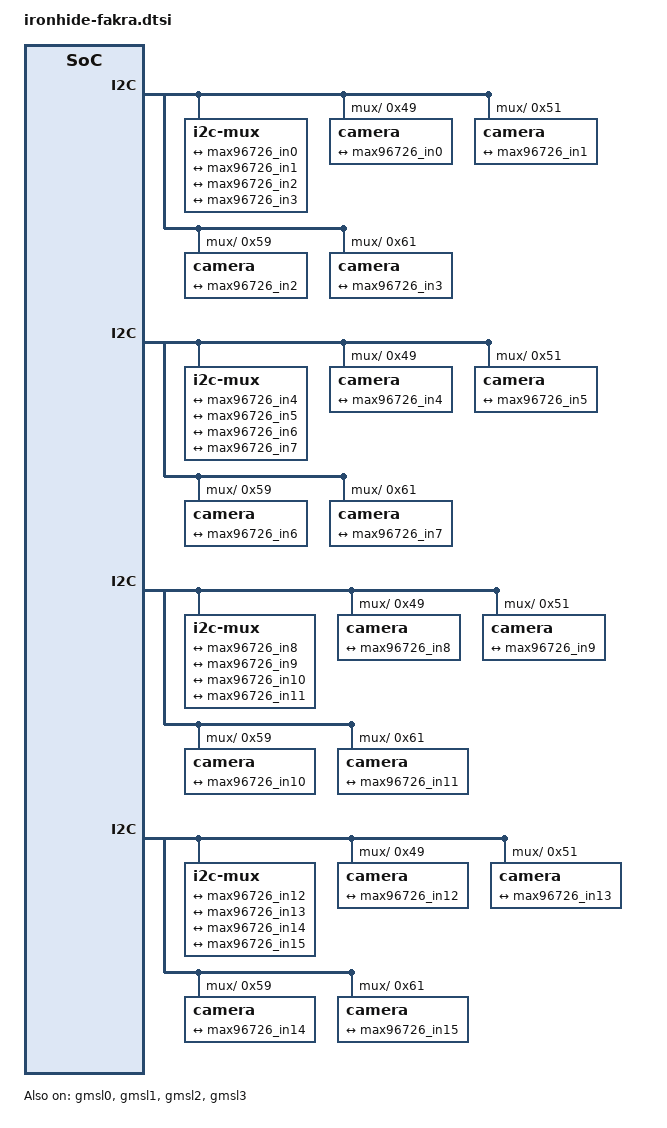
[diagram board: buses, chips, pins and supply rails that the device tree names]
// SPDX-License-Identifier: GPL-2.0+
/*
 * Device Tree Source (overlay) for the Ironhide X5H FAKRA connectors
 *
 * Copyright (C) 2023 Renesas Electronics Corp.
 *
 * This overlay allows you to define cameras connected to the FAKRA connectors
 * on the IRONHIDE-X5H (or compatible) board.
 *
 * Select each camera model by setting IRONHIDE_CAMERA<n> to AR0820, IMX728,
 * or IMX623. Comment out a define to disconnect that camera from the DTB.
 *
 * "onnn,ar0820", "sony,imx728", and "sony,imx623" have a devicetree binding
 * under Documentation/devicetree/bindings/media/i2c/ for schema validation,
 * but their v4l2 subdev driver is maintained out-of-tree (the "gmsl_serdes"
 * project) and is not part of this kernel tree.
 */

#include <dt-bindings/gpio/gpio.h>

/* Model selectors also choose the remote sensor address. */
#define IRONHIDE_SENSOR_COMPATIBLE_AR0820	"onnn,ar0820"
#define IRONHIDE_SENSOR_COMPATIBLE_IMX728	"sony,imx728"
#define IRONHIDE_SENSOR_COMPATIBLE_IMX623	"sony,imx623"

#define IRONHIDE_SENSOR_I2C_ADDR_AR0820		0x10
#define IRONHIDE_SENSOR_I2C_ADDR_IMX728		0x1a
#define IRONHIDE_SENSOR_I2C_ADDR_IMX623		0x1a

#define IRONHIDE_SENSOR_COMPATIBLE_EXPAND(model) \
	IRONHIDE_SENSOR_COMPATIBLE_##model
#define IRONHIDE_SENSOR_COMPATIBLE(model) \
	IRONHIDE_SENSOR_COMPATIBLE_EXPAND(model)
#define IRONHIDE_SENSOR_I2C_ADDR_EXPAND(model) \
	IRONHIDE_SENSOR_I2C_ADDR_##model
#define IRONHIDE_SENSOR_I2C_ADDR(model) \
	IRONHIDE_SENSOR_I2C_ADDR_EXPAND(model)

#define IRONHIDE_CAMERA0  IMX728
#define IRONHIDE_CAMERA1  IMX728
#define IRONHIDE_CAMERA2  IMX728
#define IRONHIDE_CAMERA3  IMX728
#define IRONHIDE_CAMERA4  IMX728
#define IRONHIDE_CAMERA5  IMX728
#define IRONHIDE_CAMERA6  IMX728
#define IRONHIDE_CAMERA7  IMX728
#define IRONHIDE_CAMERA8  IMX728
#define IRONHIDE_CAMERA9  IMX728
#define IRONHIDE_CAMERA10 IMX728
#define IRONHIDE_CAMERA11 IMX728
#define IRONHIDE_CAMERA12 IMX728
#define IRONHIDE_CAMERA13 IMX728
#define IRONHIDE_CAMERA14 IMX728
#define IRONHIDE_CAMERA15 IMX728

/* Define the endpoint links */
#ifdef IRONHIDE_CAMERA0
&max96726_in0 {
	remote-endpoint = <&fakra_con0>;
};
#endif

#ifdef IRONHIDE_CAMERA1
&max96726_in1 {
	remote-endpoint = <&fakra_con1>;
};
#endif

#ifdef IRONHIDE_CAMERA2
&max96726_in2 {
	remote-endpoint = <&fakra_con2>;
};
#endif

#ifdef IRONHIDE_CAMERA3
&max96726_in3 {
	remote-endpoint = <&fakra_con3>;
};
#endif

#ifdef IRONHIDE_CAMERA4
&max96726_in4 {
	remote-endpoint = <&fakra_con4>;
};
#endif

#ifdef IRONHIDE_CAMERA5
&max96726_in5 {
	remote-endpoint = <&fakra_con5>;
};
#endif

#ifdef IRONHIDE_CAMERA6
&max96726_in6 {
	remote-endpoint = <&fakra_con6>;
};
#endif

#ifdef IRONHIDE_CAMERA7
&max96726_in7 {
	remote-endpoint = <&fakra_con7>;
};
#endif
#ifdef IRONHIDE_CAMERA8
&max96726_in8 {
	remote-endpoint = <&fakra_con8>;
};
#endif

#ifdef IRONHIDE_CAMERA9
&max96726_in9 {
	remote-endpoint = <&fakra_con9>;
};
#endif

#ifdef IRONHIDE_CAMERA10
&max96726_in10 {
	remote-endpoint = <&fakra_con10>;
};
#endif

#ifdef IRONHIDE_CAMERA11
&max96726_in11 {
	remote-endpoint = <&fakra_con11>;
};
#endif

#ifdef IRONHIDE_CAMERA12
&max96726_in12 {
	remote-endpoint = <&fakra_con12>;
};
#endif

#ifdef IRONHIDE_CAMERA13
&max96726_in13 {
	remote-endpoint = <&fakra_con13>;
};
#endif

#ifdef IRONHIDE_CAMERA14
&max96726_in14 {
	remote-endpoint = <&fakra_con14>;
};
#endif

#ifdef IRONHIDE_CAMERA15
&max96726_in15 {
	remote-endpoint = <&fakra_con15>;
};
#endif

/*
 * Camera reg values are Linux-side aliases. The remote sensor's native
 * 7-bit I2C address is configured separately on each camera node.
 */
&gmsl0 {

#if defined(IRONHIDE_CAMERA0) || defined(IRONHIDE_CAMERA1) || \
	defined(IRONHIDE_CAMERA2) || defined(IRONHIDE_CAMERA3)
	status = "okay";

#endif

	i2c-mux {
#ifdef IRONHIDE_CAMERA0
		i2c@0 {
			status = "okay";

			camera@49 {
				compatible =
					IRONHIDE_SENSOR_COMPATIBLE(IRONHIDE_CAMERA0);
				reg = <0x49>;
				maxim,sensor-remote-i2c-addr =
					<IRONHIDE_SENSOR_I2C_ADDR(IRONHIDE_CAMERA0)>;

				port {
					fakra_con0: endpoint {
						remote-endpoint = <&max96726_in0>;
					};
				};
			};
		};
#endif

#ifdef IRONHIDE_CAMERA1
		i2c@1 {
			status = "okay";

			camera@51 {
				compatible =
					IRONHIDE_SENSOR_COMPATIBLE(IRONHIDE_CAMERA1);
				reg = <0x51>;
				maxim,sensor-remote-i2c-addr =
					<IRONHIDE_SENSOR_I2C_ADDR(IRONHIDE_CAMERA1)>;

				port {
					fakra_con1: endpoint {
						remote-endpoint = <&max96726_in1>;
					};
				};
			};
		};
#endif

#ifdef IRONHIDE_CAMERA2
		i2c@2 {
			status = "okay";

			camera@59 {
				compatible =
					IRONHIDE_SENSOR_COMPATIBLE(IRONHIDE_CAMERA2);
				reg = <0x59>;
				maxim,sensor-remote-i2c-addr =
					<IRONHIDE_SENSOR_I2C_ADDR(IRONHIDE_CAMERA2)>;

				port {
					fakra_con2: endpoint {
						remote-endpoint = <&max96726_in2>;
					};
				};
			};
		};
#endif

#ifdef IRONHIDE_CAMERA3
		i2c@3 {
			status = "okay";

			camera@61 {
				compatible =
					IRONHIDE_SENSOR_COMPATIBLE(IRONHIDE_CAMERA3);
				reg = <0x61>;
				maxim,sensor-remote-i2c-addr =
					<IRONHIDE_SENSOR_I2C_ADDR(IRONHIDE_CAMERA3)>;

				port {
					fakra_con3: endpoint {
						remote-endpoint = <&max96726_in3>;
					};
				};
			};
		};
#endif
	};
};

&gmsl1 {

#if defined(IRONHIDE_CAMERA4) || defined(IRONHIDE_CAMERA5) || \
	defined(IRONHIDE_CAMERA6) || defined(IRONHIDE_CAMERA7)
	status = "okay";

#endif

	i2c-mux {
#ifdef IRONHIDE_CAMERA4
		i2c@0 {
			status = "okay";

			camera@49 {
				compatible =
					IRONHIDE_SENSOR_COMPATIBLE(IRONHIDE_CAMERA4);
				reg = <0x49>;
				maxim,sensor-remote-i2c-addr =
					<IRONHIDE_SENSOR_I2C_ADDR(IRONHIDE_CAMERA4)>;

				port {
					fakra_con4: endpoint {
						remote-endpoint = <&max96726_in4>;
					};
				};
			};
		};
#endif

#ifdef IRONHIDE_CAMERA5
		i2c@1 {
			status = "okay";

			camera@51 {
				compatible =
					IRONHIDE_SENSOR_COMPATIBLE(IRONHIDE_CAMERA5);
				reg = <0x51>;
				maxim,sensor-remote-i2c-addr =
					<IRONHIDE_SENSOR_I2C_ADDR(IRONHIDE_CAMERA5)>;

				port {
					fakra_con5: endpoint {
						remote-endpoint = <&max96726_in5>;
					};
				};
			};
		};
#endif

#ifdef IRONHIDE_CAMERA6
		i2c@2 {
			status = "okay";

			camera@59 {
				compatible =
					IRONHIDE_SENSOR_COMPATIBLE(IRONHIDE_CAMERA6);
				reg = <0x59>;
				maxim,sensor-remote-i2c-addr =
					<IRONHIDE_SENSOR_I2C_ADDR(IRONHIDE_CAMERA6)>;

				port {
					fakra_con6: endpoint {
						remote-endpoint = <&max96726_in6>;
					};
				};
			};
		};
#endif

#ifdef IRONHIDE_CAMERA7
		i2c@3 {
			status = "okay";

			camera@61 {
				compatible =
					IRONHIDE_SENSOR_COMPATIBLE(IRONHIDE_CAMERA7);
				reg = <0x61>;
				maxim,sensor-remote-i2c-addr =
					<IRONHIDE_SENSOR_I2C_ADDR(IRONHIDE_CAMERA7)>;

				port {
					fakra_con7: endpoint {
						remote-endpoint = <&max96726_in7>;
					};
				};
			};
		};
#endif
	};
};

&gmsl2 {

#if defined(IRONHIDE_CAMERA8) || defined(IRONHIDE_CAMERA9) || \
	defined(IRONHIDE_CAMERA10) || defined(IRONHIDE_CAMERA11)
	status = "okay";

#endif

	i2c-mux {
#ifdef IRONHIDE_CAMERA8
		i2c@0 {
			status = "okay";

			camera@49 {
				compatible =
					IRONHIDE_SENSOR_COMPATIBLE(IRONHIDE_CAMERA8);
				reg = <0x49>;
				maxim,sensor-remote-i2c-addr =
					<IRONHIDE_SENSOR_I2C_ADDR(IRONHIDE_CAMERA8)>;

				port {
					fakra_con8: endpoint {
						remote-endpoint = <&max96726_in8>;
					};
				};
			};
		};
#endif

#ifdef IRONHIDE_CAMERA9
		i2c@1 {
			status = "okay";

			camera@51 {
				compatible =
					IRONHIDE_SENSOR_COMPATIBLE(IRONHIDE_CAMERA9);
				reg = <0x51>;
				maxim,sensor-remote-i2c-addr =
					<IRONHIDE_SENSOR_I2C_ADDR(IRONHIDE_CAMERA9)>;

				port {
					fakra_con9: endpoint {
						remote-endpoint = <&max96726_in9>;
					};
				};
			};
		};
#endif

#ifdef IRONHIDE_CAMERA10
		i2c@2 {
			status = "okay";

			camera@59 {
				compatible =
					IRONHIDE_SENSOR_COMPATIBLE(IRONHIDE_CAMERA10);
				reg = <0x59>;
				maxim,sensor-remote-i2c-addr =
					<IRONHIDE_SENSOR_I2C_ADDR(IRONHIDE_CAMERA10)>;

				port {
					fakra_con10: endpoint {
						remote-endpoint = <&max96726_in10>;
					};
				};
			};
		};
#endif

#ifdef IRONHIDE_CAMERA11
		i2c@3 {
			status = "okay";

			camera@61 {
				compatible =
					IRONHIDE_SENSOR_COMPATIBLE(IRONHIDE_CAMERA11);
				reg = <0x61>;
				maxim,sensor-remote-i2c-addr =
					<IRONHIDE_SENSOR_I2C_ADDR(IRONHIDE_CAMERA11)>;

				port {
					fakra_con11: endpoint {
						remote-endpoint = <&max96726_in11>;
					};
				};
			};
		};
#endif
	};
};

&gmsl3 {

#if defined(IRONHIDE_CAMERA12) || defined(IRONHIDE_CAMERA13) || \
	defined(IRONHIDE_CAMERA14) || defined(IRONHIDE_CAMERA15)
	status = "okay";

#endif

	i2c-mux {
#ifdef IRONHIDE_CAMERA12
		i2c@0 {
			status = "okay";

			camera@49 {
				compatible =
					IRONHIDE_SENSOR_COMPATIBLE(IRONHIDE_CAMERA12);
				reg = <0x49>;
				maxim,sensor-remote-i2c-addr =
					<IRONHIDE_SENSOR_I2C_ADDR(IRONHIDE_CAMERA12)>;

				port {
					fakra_con12: endpoint {
						remote-endpoint = <&max96726_in12>;
					};
				};
			};
		};
#endif

#ifdef IRONHIDE_CAMERA13
		i2c@1 {
			status = "okay";

			camera@51 {
				compatible =
					IRONHIDE_SENSOR_COMPATIBLE(IRONHIDE_CAMERA13);
				reg = <0x51>;
				maxim,sensor-remote-i2c-addr =
					<IRONHIDE_SENSOR_I2C_ADDR(IRONHIDE_CAMERA13)>;

				port {
					fakra_con13: endpoint {
						remote-endpoint = <&max96726_in13>;
					};
				};
			};
		};
#endif

#ifdef IRONHIDE_CAMERA14
		i2c@2 {
			status = "okay";

			camera@59 {
				compatible =
					IRONHIDE_SENSOR_COMPATIBLE(IRONHIDE_CAMERA14);
				reg = <0x59>;
				maxim,sensor-remote-i2c-addr =
					<IRONHIDE_SENSOR_I2C_ADDR(IRONHIDE_CAMERA14)>;

				port {
					fakra_con14: endpoint {
						remote-endpoint = <&max96726_in14>;
					};
				};
			};
		};
#endif

#ifdef IRONHIDE_CAMERA15
		i2c@3 {
			status = "okay";

			camera@61 {
				compatible =
					IRONHIDE_SENSOR_COMPATIBLE(IRONHIDE_CAMERA15);
				reg = <0x61>;
				maxim,sensor-remote-i2c-addr =
					<IRONHIDE_SENSOR_I2C_ADDR(IRONHIDE_CAMERA15)>;

				port {
					fakra_con15: endpoint {
						remote-endpoint = <&max96726_in15>;
					};
				};
			};
		};
#endif
	};
};
